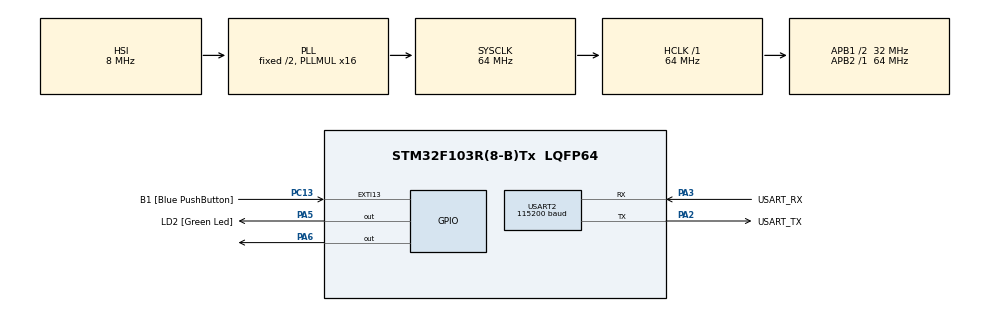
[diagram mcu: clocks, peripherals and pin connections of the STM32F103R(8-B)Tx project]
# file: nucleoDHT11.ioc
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Mcu.Family=STM32F1
Mcu.Name=STM32F103R(8-B)Tx
Mcu.Package=LQFP64
NVIC.EXTI15_10_IRQn=true\:0\:0\:false\:false\:true\:true\:true\:true
NVIC.PriorityGroup=NVIC_PRIORITYGROUP_4
PA13.GPIO_Label=TMS
PA13.Mode=Serial_Wire
PA13.Signal=SYS_JTMS-SWDIO
PA14.GPIO_Label=TCK
PA14.Mode=Serial_Wire
PA14.Signal=SYS_JTCK-SWCLK
PA2.GPIO_Label=USART_TX
PA2.GPIO_Mode=GPIO_MODE_AF_PP
PA2.GPIO_PuPd=GPIO_NOPULL
PA2.GPIO_Speed=GPIO_SPEED_FREQ_LOW
PA2.Mode=Asynchronous
PA2.Signal=USART2_TX
PA3.GPIO_Label=USART_RX
PA3.GPIO_Mode=GPIO_MODE_AF_PP
PA3.GPIO_PuPd=GPIO_NOPULL
PA3.GPIO_Speed=GPIO_SPEED_FREQ_LOW
PA3.Mode=Asynchronous
PA3.Signal=USART2_RX
PA5.GPIO_Label=LD2 [Green Led]
PA5.GPIO_ModeDefaultOutputPP=GPIO_MODE_OUTPUT_PP
PA5.GPIO_PuPd=GPIO_NOPULL
PA5.GPIO_Speed=GPIO_SPEED_FREQ_LOW
PA5.Signal=GPIO_Output
PA6.Signal=GPIO_Output
PB3.GPIO_Label=SWO
PB3.Signal=SYS_JTDO-TRACESWO
PC13-TAMPER-RTC.GPIO_Label=B1 [Blue PushButton]
PC13-TAMPER-RTC.GPIO_PuPd=GPIO_NOPULL
PC13-TAMPER-RTC.Signal=GPXTI13
PC14-OSC32_IN.Mode=LSE-External-Oscillator
PC14-OSC32_IN.Signal=RCC_OSC32_IN
PC15-OSC32_OUT.Mode=LSE-External-Oscillator
PC15-OSC32_OUT.Signal=RCC_OSC32_OUT
PD0-OSC_IN.Mode=HSE-External-Clock-Source
PD0-OSC_IN.Signal=RCC_OSC_IN
PD1-OSC_OUT.Mode=HSE-External-Clock-Source
PD1-OSC_OUT.Signal=RCC_OSC_OUT
ProjectManager.HeapSize=0x200
ProjectManager.StackSize=0x400
ProjectManager.TargetToolchain=STM32CubeIDE
RCC.AHBFreq_Value=64000000
RCC.APB1CLKDivider=RCC_HCLK_DIV2
RCC.APB1Freq_Value=32000000
RCC.APB1TimFreq_Value=64000000
RCC.APB2Freq_Value=64000000
RCC.APB2TimFreq_Value=64000000
RCC.HCLKFreq_Value=64000000
RCC.PLLMUL=RCC_PLL_MUL16
RCC.RTCClockSelection=RCC_RTCCLKSOURCE_LSE
RCC.SYSCLKFreq_VALUE=64000000
RCC.SYSCLKSource=RCC_SYSCLKSOURCE_PLLCLK
RCC.USBFreq_Value=64000000
TIM2.Prescaler=63
USART2.BaudRate=115200
USART2.VirtualMode=VM_ASYNC
VP_TIM2_VS_ClockSourceINT.Mode=Internal
board=NUCLEO-F103RB

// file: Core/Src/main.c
/* USER CODE BEGIN Header */
/**
  ******************************************************************************
  * @file           : main.c
  * @brief          : Main program body
  ******************************************************************************
  * @attention
  *
  * Copyright (c) 2022 STMicroelectronics.
  * All rights reserved.
  *
  * This software is licensed under terms that can be found in the LICENSE file
  * in the root directory of this software component.
  * If no LICENSE file comes with this software, it is provided AS-IS.
  *
  ******************************************************************************
  */
/* USER CODE END Header */
#include "main.h"

 TIM_HandleTypeDef htim2;

UART_HandleTypeDef huart2;

/* USER CODE BEGIN PV */
uint16_t CheckSUM, RH_integral,RH_decimal,T_integral,T_decimal;
uint16_t SUM, RH, TEMP;

float Temperature = 0;
float Humidity = 0;
uint8_t Presence = 0;
/* USER CODE END PV */

void SystemClock_Config(void);
static void MX_GPIO_Init(void);
static void MX_USART2_UART_Init(void);
static void MX_TIM2_Init(void);

/* USER CODE BEGIN 0 */
void us_delay(uint16_t delay)
{
	__HAL_TIM_SET_COUNTER(&htim2,0);
	while(__HAL_TIM_GET_COUNTER(&htim2)<delay);
}

void Set_Pin_Output(GPIO_TypeDef *GPIOx, uint16_t GPIO_Pin)
{
//	GPIOA->CRL |= (1<<3| 1<<1 | 1<< 0);
//	GPIOA->CRL &= ~(1<<2);
	GPIO_InitTypeDef GPIO_InitStruct = {0};
	GPIO_InitStruct.Pin = GPIO_Pin;
	GPIO_InitStruct.Mode = GPIO_MODE_OUTPUT_PP;
	GPIO_InitStruct.Speed = GPIO_SPEED_FREQ_LOW;
	HAL_GPIO_Init(GPIOx, &GPIO_InitStruct);
}

void Set_Pin_Input(GPIO_TypeDef *GPIOx, uint16_t GPIO_Pin)
{
//	GPIOA->CRL &= ~(1<<3| 1<<1 | 1<< 0);
//	GPIOA->CRL |= 1<<2;
	GPIO_InitTypeDef GPIO_InitStruct = {0};
	GPIO_InitStruct.Pin = GPIO_Pin;
	GPIO_InitStruct.Mode = GPIO_MODE_INPUT;
	GPIO_InitStruct.Pull = GPIO_PULLUP;
	HAL_GPIO_Init(GPIOx, &GPIO_InitStruct);
}

void DHT11_Start(void)
{
	Set_Pin_Output(GPIOA, GPIO_PIN_0);
	HAL_GPIO_WritePin(GPIOA, GPIO_PIN_0, GPIO_PIN_RESET);
	us_delay(18000);
	HAL_GPIO_WritePin(GPIOA, GPIO_PIN_0, GPIO_PIN_SET);
	us_delay(20);
	Set_Pin_Input(GPIOA,GPIO_PIN_0);
//	Set_Pin_Output (DHT11_PORT, DHT11_PIN);  // set the pin as output
//	HAL_GPIO_WritePin (DHT11_PORT, DHT11_PIN, 0);   // pull the pin low
//	delay (18000);   // wait for 18ms
//    HAL_GPIO_WritePin (DHT11_PORT, DHT11_PIN, 1);   // pull the pin high
//	delay (20);   // wait for 20us
//	Set_Pin_Input(DHT11_PORT, DHT11_PIN);    // set as input
}

uint8_t DHT11_Check_Response(void)
{
	uint8_t Response = 0;
	us_delay(40);
	if(!(HAL_GPIO_ReadPin(GPIOA, GPIO_PIN_0)))
	{
		us_delay(80);
		if((HAL_GPIO_ReadPin(GPIOA, GPIO_PIN_0))) Response = 1;
		else Response = -1;
	}
	while((HAL_GPIO_ReadPin(GPIOA, GPIO_PIN_0)));

	return Response;
//	uint8_t Response = 0;
//	delay (40);
//	if (!(HAL_GPIO_ReadPin (DHT11_PORT, DHT11_PIN)))
//	{
//		delay (80);
//		if ((HAL_GPIO_ReadPin (DHT11_PORT, DHT11_PIN))) Response = 1;
//		else Response = -1; // 255
//	}
//	while ((HAL_GPIO_ReadPin (DHT11_PORT, DHT11_PIN)));   // wait for the pin to go low
//
//	return Response;
}

uint8_t DHT11_Read(void)
{
	uint8_t data;
	for (uint8_t i=0;i<8;i++)
	{
		while(!(HAL_GPIO_ReadPin(GPIOA,GPIO_PIN_0)));
		us_delay(40);
		if(!(HAL_GPIO_ReadPin(GPIOA,GPIO_PIN_0)))
		{
			data &= ~(1<<(7-i));
			//			data = (data <<1);
		}
		//else data = (data<<1) + 1;
		else data |= (1<<(7-i));
		while ((HAL_GPIO_ReadPin(GPIOA, GPIO_PIN_0)));
	}
	return data;
//	uint8_t i,j;
//	for (j=0;j<8;j++)
//	{
//		while (!(HAL_GPIO_ReadPin (DHT11_PORT, DHT11_PIN)));   // wait for the pin to go high
//		delay (40);   // wait for 40 us
//		if (!(HAL_GPIO_ReadPin (DHT11_PORT, DHT11_PIN)))   // if the pin is low
//		{
//			i&= ~(1<<(7-j));   // write 0
//		}
//		else i|= (1<<(7-j));  // if the pin is high, write 1
//		while ((HAL_GPIO_ReadPin (DHT11_PORT, DHT11_PIN)));  // wait for the pin to go low
//	}
//	return i;
}
#ifdef __GNUC__
/* With GCC, small printf (option LD Linker->Libraries->Small printf
   set to 'Yes') calls __io_putchar() */
#define PUTCHAR_PROTOTYPE int __io_putchar(int ch)
#else
#define PUTCHAR_PROTOTYPE int fputc(int ch, FILE *f)
#endif /* __GNUC__ */

PUTCHAR_PROTOTYPE
{
  /* Place your implementation of fputc here */
  /* e.g. write a character to the USART1 and Loop until the end of transmission */
  HAL_UART_Transmit(&huart2, (uint8_t *)&ch, 1, 0xFFFF);

  return ch;
}

/* USER CODE END 0 */

int main(void)
{

  /* MCU Configuration--------------------------------------------------------*/

  /* Reset of all peripherals, Initializes the Flash interface and the Systick. */
  HAL_Init();

  /* Configure the system clock */
  SystemClock_Config();

  /* Initialize all configured peripherals */
  MX_GPIO_Init();
  MX_USART2_UART_Init();
  MX_TIM2_Init();
  /* USER CODE BEGIN 2 */
  HAL_TIM_Base_Start(&htim2);
  /* USER CODE END 2 */

  /* Infinite loop */
  while (1)
  {

    /* USER CODE BEGIN 3 */
//	  DHT11_Start();
//	  DHT11_Check_Response();
//
//	  RH_integral = DHT11_Read();
//	  RH_decimal = DHT11_Read();
//	  T_integral = DHT11_Read();
//	  T_decimal = DHT11_Read();
//	  CheckSUM = DHT11_Read();
//	  TEMP = ((T_integral<<8)|T_decimal);
//	  RH = ((RH_integral<<8)|RH_decimal);
//
//	  Temperature = (float) (TEMP/10.0);
//	  Humidity = (float) (RH/10.0);
//	  if((RH_integral + RH_decimal +T_integral+T_decimal)==CheckSUM)
//	  {
//		  printf("Temperature: %.1lf 'C\n", Temperature);
//		  printf("Humidity: %.1lf %%\n\r",Humidity);
//
//	  }
	  printf("fdsjklsj");
		  HAL_Delay(400);
  }

  /* USER CODE END 3 */
}

void SystemClock_Config(void)
{
  RCC_OscInitTypeDef RCC_OscInitStruct = {0};
  RCC_ClkInitTypeDef RCC_ClkInitStruct = {0};

  /** Initializes the RCC Oscillators according to the specified parameters
  * in the RCC_OscInitTypeDef structure.
  */
  RCC_OscInitStruct.OscillatorType = RCC_OSCILLATORTYPE_HSI;
  RCC_OscInitStruct.HSIState = RCC_HSI_ON;
  RCC_OscInitStruct.HSICalibrationValue = RCC_HSICALIBRATION_DEFAULT;
  RCC_OscInitStruct.PLL.PLLState = RCC_PLL_ON;
  RCC_OscInitStruct.PLL.PLLSource = RCC_PLLSOURCE_HSI_DIV2;
  RCC_OscInitStruct.PLL.PLLMUL = RCC_PLL_MUL16;
  if (HAL_RCC_OscConfig(&RCC_OscInitStruct) != HAL_OK)
  {
    Error_Handler();
  }

  /** Initializes the CPU, AHB and APB buses clocks
  */
  RCC_ClkInitStruct.ClockType = RCC_CLOCKTYPE_HCLK|RCC_CLOCKTYPE_SYSCLK
                              |RCC_CLOCKTYPE_PCLK1|RCC_CLOCKTYPE_PCLK2;
  RCC_ClkInitStruct.SYSCLKSource = RCC_SYSCLKSOURCE_PLLCLK;
  RCC_ClkInitStruct.AHBCLKDivider = RCC_SYSCLK_DIV1;
  RCC_ClkInitStruct.APB1CLKDivider = RCC_HCLK_DIV2;
  RCC_ClkInitStruct.APB2CLKDivider = RCC_HCLK_DIV1;

  if (HAL_RCC_ClockConfig(&RCC_ClkInitStruct, FLASH_LATENCY_2) != HAL_OK)
  {
    Error_Handler();
  }
}

static void MX_TIM2_Init(void)
{

  TIM_ClockConfigTypeDef sClockSourceConfig = {0};
  TIM_MasterConfigTypeDef sMasterConfig = {0};

  htim2.Instance = TIM2;
  htim2.Init.Prescaler = 63;
  htim2.Init.CounterMode = TIM_COUNTERMODE_UP;
  htim2.Init.Period = 65535;
  htim2.Init.ClockDivision = TIM_CLOCKDIVISION_DIV1;
  htim2.Init.AutoReloadPreload = TIM_AUTORELOAD_PRELOAD_DISABLE;
  if (HAL_TIM_Base_Init(&htim2) != HAL_OK)
  {
    Error_Handler();
  }
  sClockSourceConfig.ClockSource = TIM_CLOCKSOURCE_INTERNAL;
  if (HAL_TIM_ConfigClockSource(&htim2, &sClockSourceConfig) != HAL_OK)
  {
    Error_Handler();
  }
  sMasterConfig.MasterOutputTrigger = TIM_TRGO_RESET;
  sMasterConfig.MasterSlaveMode = TIM_MASTERSLAVEMODE_DISABLE;
  if (HAL_TIMEx_MasterConfigSynchronization(&htim2, &sMasterConfig) != HAL_OK)
  {
    Error_Handler();
  }

}

static void MX_USART2_UART_Init(void)
{

  huart2.Instance = USART2;
  huart2.Init.BaudRate = 115200;
  huart2.Init.WordLength = UART_WORDLENGTH_8B;
  huart2.Init.StopBits = UART_STOPBITS_1;
  huart2.Init.Parity = UART_PARITY_NONE;
  huart2.Init.Mode = UART_MODE_TX_RX;
  huart2.Init.HwFlowCtl = UART_HWCONTROL_NONE;
  huart2.Init.OverSampling = UART_OVERSAMPLING_16;
  if (HAL_UART_Init(&huart2) != HAL_OK)
  {
    Error_Handler();
  }

}

static void MX_GPIO_Init(void)
{
  GPIO_InitTypeDef GPIO_InitStruct = {0};

  /* GPIO Ports Clock Enable */
  __HAL_RCC_GPIOC_CLK_ENABLE();
  __HAL_RCC_GPIOD_CLK_ENABLE();
  __HAL_RCC_GPIOA_CLK_ENABLE();
  __HAL_RCC_GPIOB_CLK_ENABLE();

  /*Configure GPIO pin Output Level */
  HAL_GPIO_WritePin(GPIOA, LD2_Pin|GPIO_PIN_6, GPIO_PIN_RESET);

  /*Configure GPIO pin : B1_Pin */
  GPIO_InitStruct.Pin = B1_Pin;
  GPIO_InitStruct.Mode = GPIO_MODE_IT_RISING;
  GPIO_InitStruct.Pull = GPIO_NOPULL;
  HAL_GPIO_Init(B1_GPIO_Port, &GPIO_InitStruct);

  /*Configure GPIO pins : LD2_Pin PA6 */
  GPIO_InitStruct.Pin = LD2_Pin|GPIO_PIN_6;
  GPIO_InitStruct.Mode = GPIO_MODE_OUTPUT_PP;
  GPIO_InitStruct.Pull = GPIO_NOPULL;
  GPIO_InitStruct.Speed = GPIO_SPEED_FREQ_LOW;
  HAL_GPIO_Init(GPIOA, &GPIO_InitStruct);

  /* EXTI interrupt init*/
  HAL_NVIC_SetPriority(EXTI15_10_IRQn, 0, 0);
  HAL_NVIC_EnableIRQ(EXTI15_10_IRQn);

}

void Error_Handler(void)
{
  __disable_irq();
  while (1)
  {
  }
}
